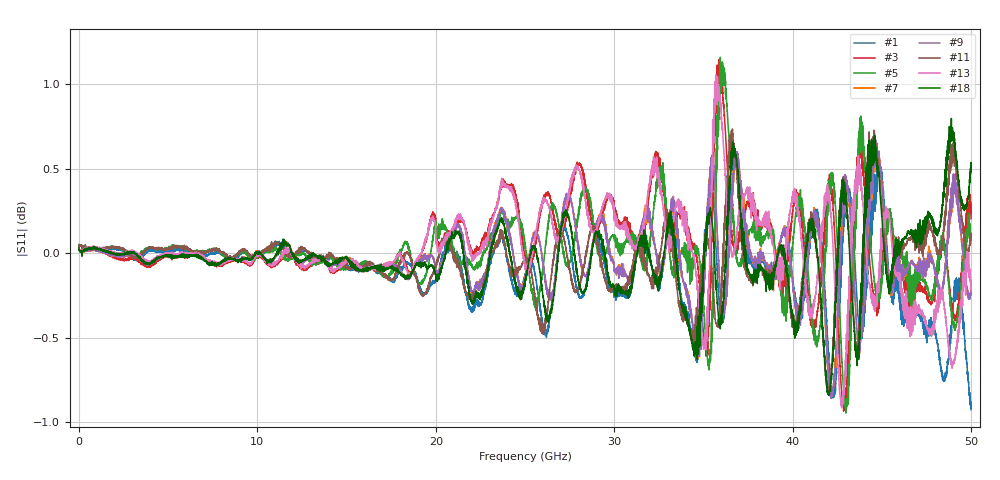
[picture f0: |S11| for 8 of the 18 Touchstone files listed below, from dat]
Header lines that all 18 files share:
!Created with skrf (http://scikit-rf.org).
# Hz S RI R 50.0
!freq ReS11 ImS11
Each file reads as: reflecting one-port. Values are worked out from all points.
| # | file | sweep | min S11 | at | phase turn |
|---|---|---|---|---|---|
| 1 | 3654B_FOPEN_FieldFox_mate1_swp2.s1p | 300 kHz to 50 GHz | -0.9 dB | 50 GHz | -589 deg |
| 2 | 3654B_FSHORT_FieldFox_mate1_swp0.s1p | 5.3 MHz to 50 GHz | -0.9 dB | 42.96 GHz | -636 deg |
| 3 | 3654B_FSHORT_FieldFox_mate1_swp1.s1p | 5.3 MHz to 50 GHz | -0.9 dB | 42.86 GHz | -636 deg |
| 4 | 3654B_FSHORT_FieldFox_mate1_swp2.s1p | 5.3 MHz to 50 GHz | -1.0 dB | 42.92 GHz | -636 deg |
| 5 | 85056A_FOPEN_FieldFox_mate1_swp0.s1p | 300 kHz to 50 GHz | -0.9 dB | 42.98 GHz | -826 deg |
| 6 | 85056A_FOPEN_FieldFox_mate1_swp1.s1p | 300 kHz to 50 GHz | -0.9 dB | 42.99 GHz | -826 deg |
| 7 | 85056A_FSHORT_FieldFox_mate1_swp0.s1p | 5.3 MHz to 50 GHz | -0.9 dB | 42.13 GHz | -822 deg |
| 8 | 85056A_FSHORT_FieldFox_mate1_swp1.s1p | 5.3 MHz to 50 GHz | -0.9 dB | 42.18 GHz | -822 deg |
| 9 | 85056A_FSHORT_FieldFox_mate1_swp2.s1p | 5.3 MHz to 50 GHz | -0.9 dB | 42.15 GHz | -822 deg |
| 10 | 85058B_FOPEN_FieldFox_mate1_swp0.s1p | 300 kHz to 50 GHz | -0.8 dB | 41.95 GHz | -665 deg |
| 11 | 85058B_FOPEN_FieldFox_mate1_swp1.s1p | 300 kHz to 50 GHz | -0.8 dB | 41.96 GHz | -665 deg |
| 12 | 85058B_FOPEN_FieldFox_mate1_swp2.s1p | 300 kHz to 50 GHz | -0.8 dB | 42.01 GHz | -665 deg |
| 13 | 85058B_FSHORT1_FieldFox_mate1_swp0.s1p | 5.3 MHz to 50 GHz | -0.9 dB | 42.75 GHz | -665 deg |
| 14 | 85058B_FSHORT1_FieldFox_mate1_swp1.s1p | 5.3 MHz to 50 GHz | -0.9 dB | 42.75 GHz | -665 deg |
| 15 | 85058B_FSHORT1_FieldFox_mate1_swp2.s1p | 5.3 MHz to 50 GHz | -0.9 dB | 42.76 GHz | -665 deg |
| 16 | 85058B_FSHORT2_FieldFox_mate1_swp1.s1p | 5.3 MHz to 50 GHz | -0.9 dB | 50 GHz | -771 deg |
| 17 | 85058B_FSHORT2_FieldFox_mate1_swp2.s1p | 5.3 MHz to 50 GHz | -0.9 dB | 50 GHz | -771 deg |
| 18 | 85058B_FSHORT3_FieldFox_mate1_swp0.s1p | 5.3 MHz to 50 GHz | -0.8 dB | 42.04 GHz | -876 deg |
